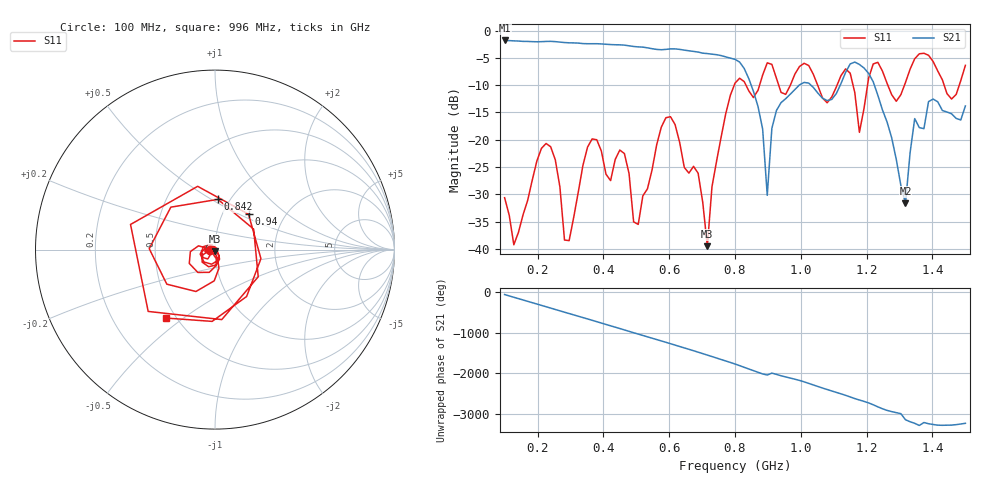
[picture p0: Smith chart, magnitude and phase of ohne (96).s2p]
! NanoVNA-App
! Date: 2025-09-26 09:56:08
! Start: 100MHz Stop: 1,5GHz Points: 101
! S-Parameter data: F S11 S21 S12 S22
# Hz S RI R 50
!  Frequency  S11_Real  S11_Imag  S21_Real  S21_Imag  S12_Real  S12_Imag  S22_Real  S22_Imag
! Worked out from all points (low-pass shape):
!   101 points, 100 MHz to 1.5 GHz, reference 50 ohm
!   highest |S21| = -1.79 dB at 100 MHz (marker M1); lowest = -31.6 dB at 1.318 GHz (marker M2)
!   |S21| within 3 dB of the highest: start of sweep to 771.3 MHz
!   lowest |S11| = -39.5 dB at 716 MHz (marker M3), VSWR 1.02, Z = 49.7 - j1.02 ohm
!   |S11| at or under -10 dB: start of sweep to 797.6 MHz; 833.4 MHz to 874.6 MHz (41.2 MHz wide, 4.82 % of centre); 1.051 GHz to 1.11 GHz (58.84 MHz wide, 5.45 % of centre)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
!   S12 and S22 are empty: the file has one direction only
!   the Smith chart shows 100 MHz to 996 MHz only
!   S11 on the Smith chart (normalised r, x): 100 MHz: 0.94, -0.01; 842 MHz: 0.88, +0.53; 940 MHz: 1.32, +0.56; 996 MHz: 0.44, -0.43
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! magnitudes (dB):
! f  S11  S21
! 100 MHz  -30.6  -1.8
! 128 MHz  -39.3  -1.9
! 226 MHz  -20.7  -2.0
! 296 MHz  -38.5  -2.2
! 338 MHz  -24.7  -2.4
! 464 MHz  -22.5  -2.6
! 506 MHz  -35.5  -3.0
! 576 MHz  -17.7  -3.5
! 688 MHz  -26.1  -3.9
! 716 MHz  -39.5  -4.2
! 800 MHz  -9.6  -5.3
! 842 MHz  -11.0  -8.8
! 898 MHz  -5.9  -30.2
! 940 MHz  -11.3  -13.2
! 996 MHz  -6.6  -9.9
! 1.038 GHz  -8.0  -10.4
! 1.178 GHz  -18.6  -6.2
! 1.22 GHz  -6.1  -9.4
! 1.276 GHz  -11.7  -19.6
! 1.318 GHz  -9.5  -31.6
! 1.346 GHz  -5.1  -16.1
! 1.5 GHz  -6.4  -13.8
